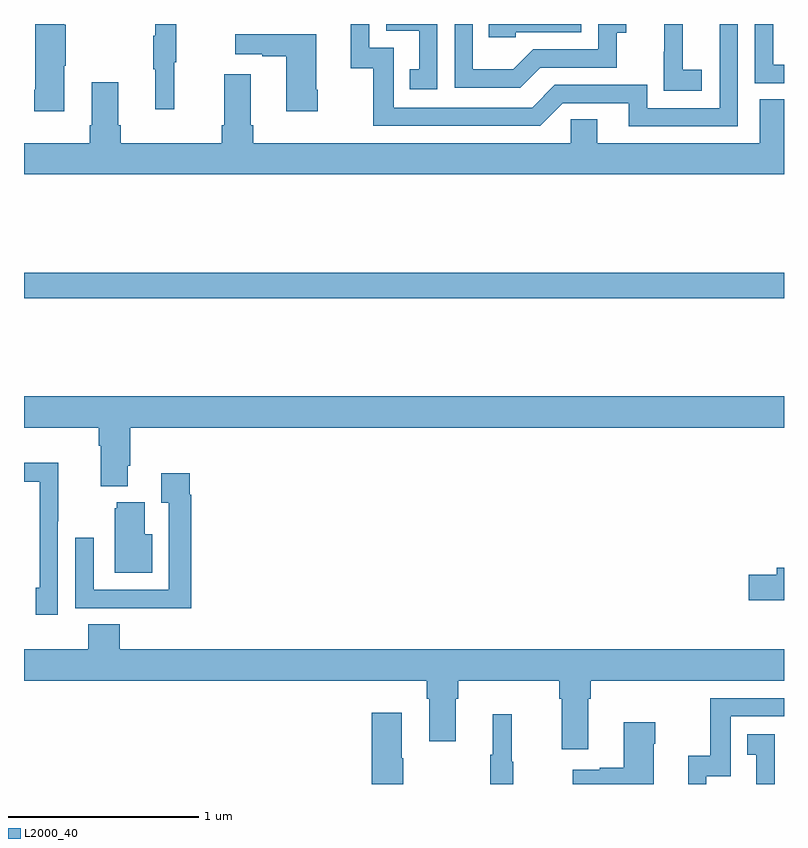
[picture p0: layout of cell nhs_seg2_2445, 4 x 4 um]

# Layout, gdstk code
import gdstk
lib = gdstk.Library(unit=1e-6, precision=1e-09)
def R(c, l, rs):  # rectangles x0, y0, x1, y1
    for r in rs: c.add(gdstk.rectangle(r[:2], r[2:], *l))
def P(c, l, *ps):  # polygons
    for p in ps: c.add(gdstk.Polygon(p, *l))
L2000_40 = (2000, 40)

nhs_seg2_2445 = lib.new_cell('nhs_seg2_2445')
R(nhs_seg2_2445, L2000_40, [(239,608.356,243,608.492)])
P(nhs_seg2_2445, L2000_40, [(243,609.585),(242.943,609.585),(242.943,609.8),(242.847,609.8),(242.847,609.489),(243,609.489)],
  [(241.717,609.57),(242.121,609.57),(242.121,609.755),(242.17,609.755),(242.17,609.8),(242.022,609.8),(242.022,609.666),(241.68,609.666),(241.576,609.562),(241.362,609.562),(241.362,609.8),(241.266,609.8),(241.266,609.465),(241.612,609.465)],
  [(241.176,609.8),(240.906,609.8),(240.906,609.765),(241.079,609.765),(241.079,609.561),(241.03,609.561),(241.03,609.456),(241.176,609.456)],
  [(242.566,609.559),(242.468,609.559),(242.468,609.788),(242.466,609.788),(242.466,609.8),(242.369,609.8),(242.369,609.655),(242.368,609.655),(242.368,609.449),(242.566,609.449)],
  [(242.757,609.8),(242.661,609.8),(242.661,609.357),(242.28,609.357),(242.28,609.48),(241.794,609.48),(241.674,609.36),(240.945,609.36),(240.945,609.675),(240.816,609.675),(240.816,609.8),(240.719,609.8),(240.719,609.567),(240.837,609.567),(240.837,609.264),(241.716,609.264),(241.836,609.384),(242.183,609.384),(242.183,609.261),(242.757,609.261)],
  [(241.587,609.756),(241.932,609.756),(241.932,609.8),(241.447,609.8),(241.447,609.729),(241.587,609.729)],
  [(239.792,609.6),(239.8,609.6),(239.8,609.8),(239.69,609.8),(239.69,609.737),(239.679,609.737),(239.679,609.563),(239.69,609.563),(239.69,609.351),(239.792,609.351)],
  [(239.212,609.58),(239.22,609.58),(239.22,609.797),(239.212,609.797),(239.212,609.8),(239.059,609.8),(239.059,609.454),(239.054,609.454),(239.054,609.342),(239.212,609.342)],
  [(240.546,609.454),(240.538,609.454),(240.538,609.745),(240.111,609.745),(240.111,609.641),(240.254,609.641),(240.254,609.631),(240.38,609.631),(240.38,609.342),(240.546,609.342)],
  [(243,609.404),(242.873,609.404),(242.873,609.172),(242.017,609.172),(242.017,609.299),(241.878,609.299),(241.878,609.172),(240.206,609.172),(240.206,609.268),(240.193,609.268),(240.193,609.535),(240.053,609.535),(240.053,609.268),(240.041,609.268),(240.041,609.172),(239.51,609.172),(239.51,609.268),(239.497,609.268),(239.497,609.493),(239.357,609.493),(239.357,609.268),(239.345,609.268),(239.345,609.172),(239,609.172),(239,609.008),(243,609.008)],
  [(239.545,607.474),(239.558,607.474),(239.558,607.676),(243,607.676),(243,607.84),(239,607.84),(239,607.676),(239.393,607.676),(239.393,607.58),(239.405,607.58),(239.405,607.367),(239.545,607.367)],
  [(239.178,607.183),(239.181,607.183),(239.181,607.49),(239,607.49),(239,607.392),(239.082,607.392),(239.082,606.834),(239.063,606.834),(239.063,606.69),(239.178,606.69)],
  [(239.879,607.322),(239.872,607.322),(239.872,607.435),(239.723,607.435),(239.723,607.279),(239.763,607.279),(239.763,606.822),(239.367,606.822),(239.367,607.096),(239.271,607.096),(239.271,606.726),(239.587,606.726),(239.587,606.725),(239.879,606.725)],
  [(239.674,607.114),(239.635,607.114),(239.635,607.282),(239.489,607.282),(239.489,607.251),(239.477,607.251),(239.477,606.911),(239.674,606.911)],
  [(243,606.938),(242.963,606.938),(242.963,606.902),(242.814,606.902),(242.814,606.767),(243,606.767)],
  [(241.969,606.248),(241.982,606.248),(241.982,606.344),(243,606.344),(243,606.508),(239.504,606.508),(239.504,606.641),(239.339,606.641),(239.339,606.508),(239,606.508),(239,606.344),(241.121,606.344),(241.121,606.248),(241.133,606.248),(241.133,606.024),(241.273,606.024),(241.273,606.248),(241.286,606.248),(241.286,606.344),(241.817,606.344),(241.817,606.248),(241.829,606.248),(241.829,605.982),(241.969,605.982)],
  [(242.592,605.841),(242.721,605.841),(242.721,606.156),(243,606.156),(243,606.252),(242.613,606.252),(242.613,605.95),(242.495,605.95),(242.495,605.8),(242.592,605.8)],
  [(240.996,605.936),(240.988,605.936),(240.988,606.175),(240.83,606.175),(240.83,605.8),(240.996,605.8)],
  [(241.576,605.916),(241.568,605.916),(241.568,606.166),(241.466,606.166),(241.466,605.953),(241.455,605.953),(241.455,605.8),(241.576,605.8)],
  [(242.314,606.011),(242.322,606.011),(242.322,606.124),(242.156,606.124),(242.156,605.885),(242.03,605.885),(242.03,605.875),(241.887,605.875),(241.887,605.8),(242.314,605.8)],
  [(242.952,606.061),(242.806,606.061),(242.806,605.955),(242.855,605.955),(242.855,605.8),(242.952,605.8)])

lib.write_gds('nhs_seg2_2445.gds')
